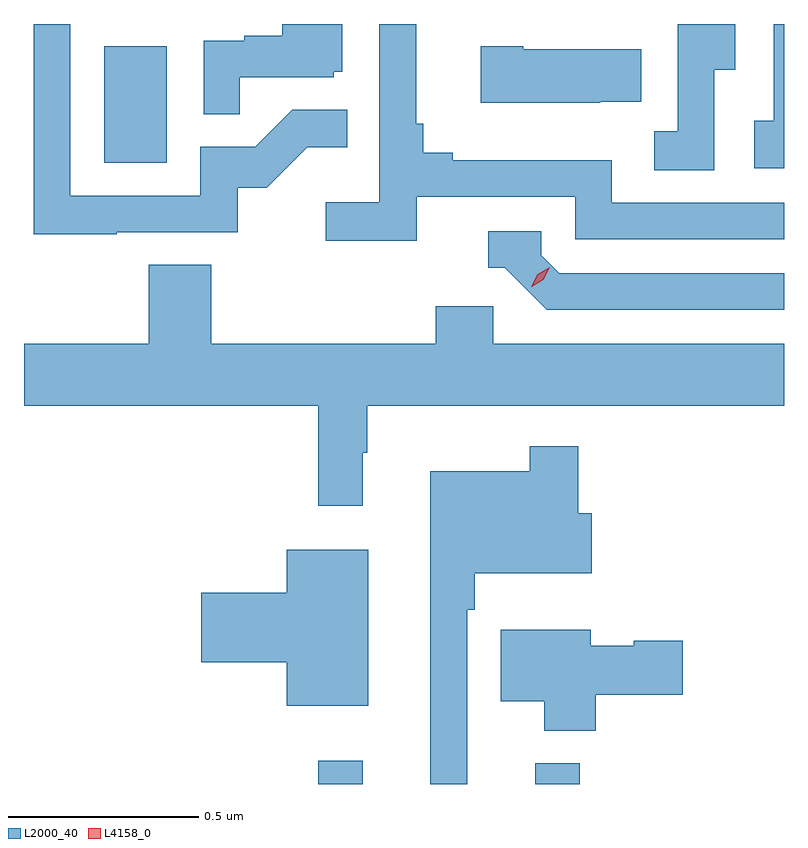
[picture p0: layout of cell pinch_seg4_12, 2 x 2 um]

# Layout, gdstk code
import gdstk
lib = gdstk.Library(unit=1e-6, precision=1e-09)
def R(c, l, rs):  # rectangles x0, y0, x1, y1
    for r in rs: c.add(gdstk.rectangle(r[:2], r[2:], *l))
def P(c, l, *ps):  # polygons
    for p in ps: c.add(gdstk.Polygon(p, *l))
L2000_40 = (2000, 40)
L4158_0 = (4158, 0)

pinch_seg4_12 = lib.new_cell('pinch_seg4_12')
R(pinch_seg4_12, L2000_40, [(1114.267,830.457,1114.385,830.518), (1114.838,830.457,1114.955,830.512), (1113.704,832.092,1113.868,832.399)])
P(pinch_seg4_12, L2000_40, [(1115.493,832.457),(1115.466,832.457),(1115.466,832.202),(1115.415,832.202),(1115.415,832.077),(1115.493,832.077)],
  [(1114.526,832.002),(1114.944,832.002),(1114.944,831.891),(1115.493,831.891),(1115.493,831.987),(1115.04,831.987),(1115.04,832.099),(1114.621,832.099),(1114.621,832.118),(1114.544,832.118),(1114.544,832.195),(1114.525,832.195),(1114.525,832.457),(1114.428,832.457),(1114.428,831.988),(1114.287,831.988),(1114.287,831.886),(1114.526,831.886)],
  [(1115.31,832.336),(1115.365,832.336),(1115.365,832.457),(1115.214,832.457),(1115.214,832.175),(1115.151,832.175),(1115.151,832.072),(1115.31,832.072)],
  [(1113.737,831.909),(1114.056,831.909),(1114.056,832.026),(1114.132,832.026),(1114.239,832.133),(1114.343,832.133),(1114.343,832.232),(1114.199,832.232),(1114.101,832.134),(1113.957,832.134),(1113.957,832.005),(1113.615,832.005),(1113.615,832.457),(1113.519,832.457),(1113.519,831.904),(1113.737,831.904)],
  [(1114.061,832.317),(1114.308,832.317),(1114.308,832.332),(1114.33,832.332),(1114.33,832.457),(1114.172,832.457),(1114.172,832.426),(1114.073,832.426),(1114.073,832.413),(1113.966,832.413),(1113.966,832.219),(1114.061,832.219)],
  [(1115.009,832.253),(1115.117,832.253),(1115.117,832.39),(1114.807,832.39),(1114.807,832.398),(1114.695,832.398),(1114.695,832.25),(1115.009,832.25)],
  [(1115.493,831.801),(1114.902,831.801),(1114.854,831.849),(1114.854,831.912),(1114.715,831.912),(1114.715,831.816),(1114.758,831.816),(1114.869,831.705),(1115.493,831.705)],
  [(1114.384,831.329),(1114.396,831.329),(1114.396,831.452),(1115.493,831.452),(1115.493,831.616),(1114.728,831.616),(1114.728,831.714),(1114.577,831.714),(1114.577,831.616),(1113.986,831.616),(1113.986,831.824),(1113.821,831.824),(1113.821,831.616),(1113.493,831.616),(1113.493,831.452),(1114.267,831.452),(1114.267,831.189),(1114.384,831.189)],
  [(1114.659,830.915),(1114.679,830.915),(1114.679,831.011),(1114.987,831.011),(1114.987,831.169),(1114.952,831.169),(1114.952,831.346),(1114.824,831.346),(1114.824,831.28),(1114.562,831.28),(1114.562,830.457),(1114.659,830.457)],
  [(1114.399,831.073),(1114.184,831.073),(1114.184,830.96),(1113.96,830.96),(1113.96,830.777),(1114.184,830.777),(1114.184,830.663),(1114.399,830.663)],
  [(1114.997,830.692),(1115.227,830.692),(1115.227,830.834),(1115.097,830.834),(1115.097,830.821),(1114.984,830.821),(1114.984,830.863),(1114.748,830.863),(1114.748,830.675),(1114.862,830.675),(1114.862,830.597),(1114.997,830.597)])
P(pinch_seg4_12, L4158_0, [(1114.828,831.765),(1114.828,831.765),(1114.845,831.798),(1114.876,831.817),(1114.876,831.817),(1114.876,831.817),(1114.86,831.784),(1114.829,831.765)])

lib.write_gds('pinch_seg4_12.gds')
